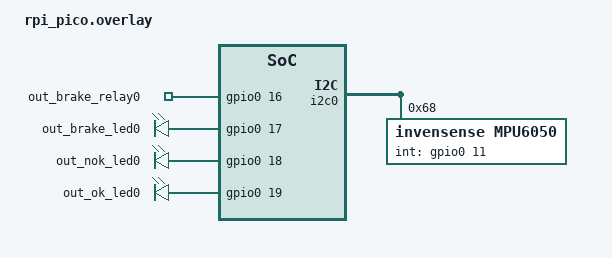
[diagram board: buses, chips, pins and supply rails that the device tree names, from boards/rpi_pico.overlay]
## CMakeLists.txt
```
cmake_minimum_required(VERSION 3.20.0)

set(BOARD rpi_pico)

find_package(Zephyr)
project(lack_brake_lights)

target_sources(app PRIVATE src/main.c src/lackc/brake_lights.c)
target_include_directories(app PRIVATE rts/c)
```

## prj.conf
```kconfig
CONFIG_I2C=y
CONFIG_I2C_DW_CLOCK_SPEED=400

CONFIG_SENSOR=y
CONFIG_MPU6050_TRIGGER_NONE=y
```

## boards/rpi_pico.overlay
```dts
&i2c0 {
	// For accel + gyro at 100Hz, we need around 140KHz.
	// Standard (100KHz) won't do it, but fast (400KHz) should.
	// clock-frequency = <I2C_BITRATE_FAST>;

	mpu6050@68 {
		compatible = "invensense,mpu6050";
		reg = <0x68>;
		status = "okay";
		int-gpios = <&gpio0 11 GPIO_ACTIVE_HIGH>;
	};
};

/ {
	leds {
		compatible = "gpio-leds";
		out_brake_relay0: relay0 {
			gpios = <&gpio0 16 GPIO_ACTIVE_HIGH>;
		};
		out_brake_led0: led0 {
			gpios = <&gpio0 17 GPIO_ACTIVE_HIGH>;
		};
		out_nok_led0: led1 {
			gpios = <&gpio0 18 GPIO_ACTIVE_HIGH>;
		};
		out_ok_led0: led2 {
			gpios = <&gpio0 19 GPIO_ACTIVE_HIGH>;
		};
	};

	aliases {
		out-brake-relay = &out_brake_relay0;
		out-brake-led   = &out_brake_led0;
		out-ok-led      = &out_ok_led0;
		out-nok-led     = &out_nok_led0;
	};
};
```

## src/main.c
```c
#include <zephyr/kernel.h>
#include <zephyr/device.h>
#include <zephyr/drivers/gpio.h>
#include <zephyr/drivers/sensor.h>

#include "lackc/brake_lights.h"

#define SLEEP_TIME_MS   10

// static const struct gpio_dt_spec in_imu_interrupt =
// 	GPIO_DT_SPEC_GET(DT_ALIAS(in_imu_interrupt), gpios);

static const struct gpio_dt_spec out_brake_relay =
	GPIO_DT_SPEC_GET(DT_ALIAS(out_brake_relay), gpios);
static const struct gpio_dt_spec out_brake_led =
	GPIO_DT_SPEC_GET(DT_ALIAS(out_brake_led), gpios);
static const struct gpio_dt_spec out_ok_led =
	GPIO_DT_SPEC_GET(DT_ALIAS(out_ok_led), gpios);
static const struct gpio_dt_spec out_nok_led =
	GPIO_DT_SPEC_GET(DT_ALIAS(out_nok_led), gpios);

static const struct device *const dev_imu =
	DEVICE_DT_GET_ONE(invensense_mpu6050);

typedef struct imu {
	bool clock;
	double accel[3];
	double gyro[4];
} imu_t;

static imu_t latest_imu;

static Top$Brakes$state brakes_state;

static void lackc_init() {
	Top$Brakes$reset(&brakes_state);
}

static void lackc_step(imu_t imu) {
	Top$Brakes$step$out out;
	Top$Brakes$step(&brakes_state,
		imu.clock,
		imu.accel[0], imu.accel[1], imu.accel[2],
		imu.gyro[0], imu.gyro[1], imu.gyro[2], imu.gyro[3],
		&out);

#define RELAY_EN
#ifdef RELAY_EN
	gpio_pin_set_dt(&out_brake_relay, out.light);
#endif
	gpio_pin_set_dt(&out_brake_led, out.light);
	gpio_pin_set_dt(&out_ok_led,    out.ok);
	gpio_pin_set_dt(&out_nok_led,   out.nok_stuck);
}

static void process_imu() {
	struct sensor_value accel[3];
	struct sensor_value gyro[3];
	// TODO is this necessarily ensuring fresh data?
	int nok = sensor_sample_fetch(dev_imu);
	if (!nok) {
		nok = sensor_channel_get(dev_imu, SENSOR_CHAN_ACCEL_XYZ, accel);
	}
	if (!nok) {
		nok = sensor_channel_get(dev_imu, SENSOR_CHAN_GYRO_XYZ, gyro);
	}
	if (!nok) {
		latest_imu.clock = true;
		latest_imu.accel[0] = sensor_value_to_double(&accel[0]);
		latest_imu.accel[1] = sensor_value_to_double(&accel[1]);
		latest_imu.accel[2] = sensor_value_to_double(&accel[2]);
		// TODO I want to convert the gyro to a quaternion so the control system can apply it with linear ops
		latest_imu.gyro[0] = sensor_value_to_double(&gyro[0]);
		latest_imu.gyro[1] = sensor_value_to_double(&gyro[1]);
		latest_imu.gyro[2] = sensor_value_to_double(&gyro[2]);
		latest_imu.gyro[3] = 0.0;
	} else {
		latest_imu.clock = false;
	}
}


static void main_timer_work_step(struct k_work *work) {
	lackc_step(latest_imu);
	process_imu();
}

K_WORK_DEFINE(main_timer_work, main_timer_work_step);

static void main_timer_step(struct k_timer *timer) {
	k_work_submit(&main_timer_work);
}

K_TIMER_DEFINE(main_timer, main_timer_step, NULL);


void main(void) {
	int ret;

	if (!device_is_ready(out_brake_relay.port)) {
		return;
	}

	ret =
		// gpio_pin_configure_dt(&in_imu_interrupt, GPIO_INPUT) ||
		gpio_pin_configure_dt(&out_brake_relay, GPIO_OUTPUT_INACTIVE) ||
		gpio_pin_configure_dt(&out_brake_led, GPIO_OUTPUT_ACTIVE) ||
		gpio_pin_configure_dt(&out_ok_led, GPIO_OUTPUT_ACTIVE) ||
		gpio_pin_configure_dt(&out_nok_led, GPIO_OUTPUT_ACTIVE);
	if (ret < 0) {
		return;
	}

	gpio_pin_set_dt(&out_nok_led, true);

	if (!device_is_ready(dev_imu)) {
		return;
	}

	lackc_init();
	latest_imu.clock = false;

	k_timer_start(&main_timer, K_MSEC(10), K_MSEC(10));
}
```
